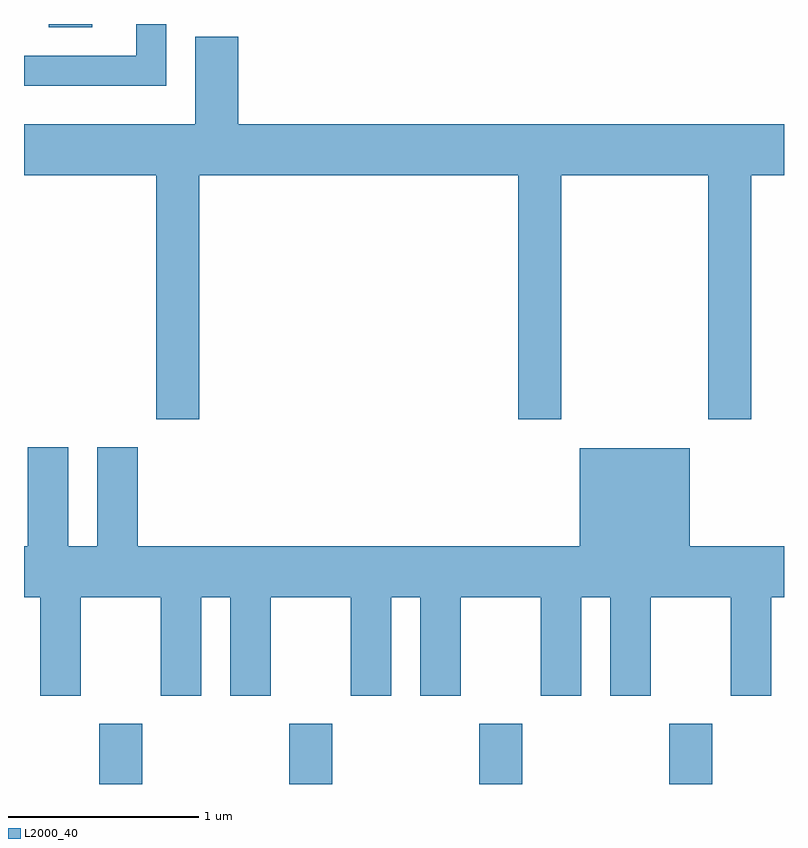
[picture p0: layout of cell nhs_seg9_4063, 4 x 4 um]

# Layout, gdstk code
import gdstk
lib = gdstk.Library(unit=1e-6, precision=1e-09)
def R(c, l, rs):  # rectangles x0, y0, x1, y1
    for r in rs: c.add(gdstk.rectangle(r[:2], r[2:], *l))
def A(c, l, x, y, w, h, nx, ny, dx, dy):  # array of equal rectangles
    R(c, l, [(x+i*dx, y+j*dy, x+i*dx+w, y+j*dy+h) for i in range(nx) for j in range(ny)])
def P(c, l, *ps):  # polygons
    for p in ps: c.add(gdstk.Polygon(p, *l))
L2000_40 = (2000, 40)

nhs_seg9_4063 = lib.new_cell('nhs_seg9_4063')
A(nhs_seg9_4063, L2000_40, 306.006, 1946.432, 0.228, 0.317, 4, 1, 1, 0)
R(nhs_seg9_4063, L2000_40, [(305.741,1950.416,305.969,1950.432)])
P(nhs_seg9_4063, L2000_40, [(306.359,1950.432),(306.201,1950.432),(306.201,1950.264),(305.611,1950.264),(305.611,1950.106),(306.359,1950.106)],
  [(306.534,1949.636),(308.211,1949.636),(308.211,1948.351),(308.439,1948.351),(308.439,1949.636),(309.211,1949.636),(309.211,1948.351),(309.439,1948.351),(309.439,1949.636),(309.611,1949.636),(309.611,1949.904),(306.739,1949.904),(306.739,1950.364),(306.511,1950.364),(306.511,1949.904),(305.611,1949.904),(305.611,1949.636),(306.306,1949.636),(306.306,1948.351),(306.534,1948.351)],
  [(305.844,1948.204),(305.631,1948.204),(305.631,1947.684),(305.611,1947.684),(305.611,1947.416),(305.696,1947.416),(305.696,1946.896),(305.909,1946.896),(305.909,1947.416),(306.331,1947.416),(306.331,1946.896),(306.544,1946.896),(306.544,1947.416),(306.696,1947.416),(306.696,1946.896),(306.909,1946.896),(306.909,1947.416),(307.331,1947.416),(307.331,1946.896),(307.544,1946.896),(307.544,1947.416),(307.696,1947.416),(307.696,1946.896),(307.909,1946.896),(307.909,1947.416),(308.331,1947.416),(308.331,1946.896),(308.544,1946.896),(308.544,1947.416),(308.696,1947.416),(308.696,1946.896),(308.909,1946.896),(308.909,1947.416),(309.331,1947.416),(309.331,1946.896),(309.544,1946.896),(309.544,1947.416),(309.611,1947.416),(309.611,1947.684),(309.114,1947.684),(309.114,1948.199),(308.536,1948.199),(308.536,1947.684),(306.209,1947.684),(306.209,1948.204),(305.996,1948.204),(305.996,1947.684),(305.844,1947.684)])

lib.write_gds('nhs_seg9_4063.gds')
